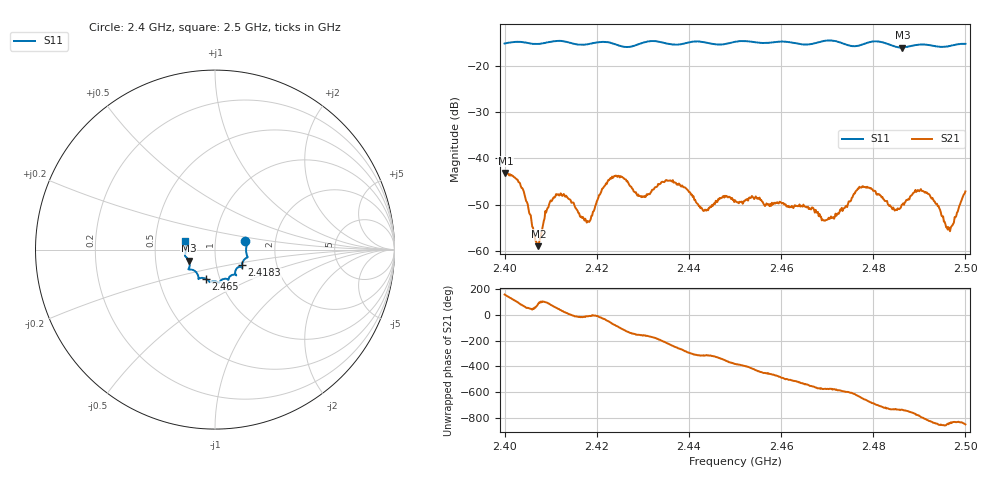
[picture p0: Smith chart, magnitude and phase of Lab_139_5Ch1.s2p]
# Hz S RI R 50
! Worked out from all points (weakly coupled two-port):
!   601 points, 2.4 GHz to 2.5 GHz, reference 50 ohm
!   highest |S21| = -43.11 dB at 2.4002 GHz (marker M1); lowest = -59.0 dB at 2.4073 GHz (marker M2)
!   lowest |S11| = -16.0 dB at 2.4863 GHz (marker M3), VSWR 1.38, Z = 37 - j4.66 ohm
!   |S11| at or under -10 dB: start of sweep to end of sweep
!   S12 and S22 are empty: the file has one direction only
!   S11 on the Smith chart (normalised r, x): 2.4 GHz: 1.40, +0.13; 2.4183 GHz: 1.33, -0.24; 2.465 GHz: 0.86, -0.29; 2.5 GHz: 0.71, +0.07
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2.4e9  0.1687 0.0454  -0.00641 0.00268  0 0  0 0
2.400167e9  0.1697 0.0444  -0.00625 0.00312  0 0  0 0
2.403667e9  0.1791 0.0291  0.000939 0.00471  0 0  0 0
2.407333e9  0.1728 -0.00749  3.99e-05 0.00113  0 0  0 0
2.411167e9  0.1818 -0.0398  0.00231 0.0034  0 0  0 0
2.416667e9  0.1548 -0.0684  0.00226 -0.000651  0 0  0 0
2.418333e9  0.1497 -0.0869  0.00203 -0.000329  0 0  0 0
2.4235e9  0.1461 -0.097  0.00183 -0.00589  0 0  0 0
2.429667e9  0.1132 -0.1344  -0.00352 -0.00146  0 0  0 0
2.433333e9  0.1167 -0.1415  -0.00523 0.000893  0 0  0 0
2.438333e9  0.0801 -0.1521  -0.0002 0.00496  0 0  0 0
2.443333e9  0.0708 -0.166  0.00204 0.00181  0 0  0 0
2.45e9  0.025 -0.1805  0.00327 -0.00135  0 0  0 0
2.465e9  -0.0528 -0.162  -0.00303 -0.000225  0 0  0 0
2.466667e9  -0.0714 -0.1575  -0.00284 0.00077  0 0  0 0
2.471167e9  -0.0923 -0.1635  -0.00172 0.00152  0 0  0 0
2.4775e9  -0.1273 -0.1121  0.00138 0.00466  0 0  0 0
2.483333e9  -0.1422 -0.096  0.00308 -0.00056  0 0  0 0
2.486333e9  -0.1456 -0.0614  0.00304 -0.000978  0 0  0 0
2.490833e9  -0.1671 -0.0336  0.000747 -0.00438  0 0  0 0
2.496333e9  -0.1621 0.0204  -0.00118 -0.00137  0 0  0 0
2.5e9  -0.1667 0.0475  -0.00293 -0.00329  0 0  0 0
